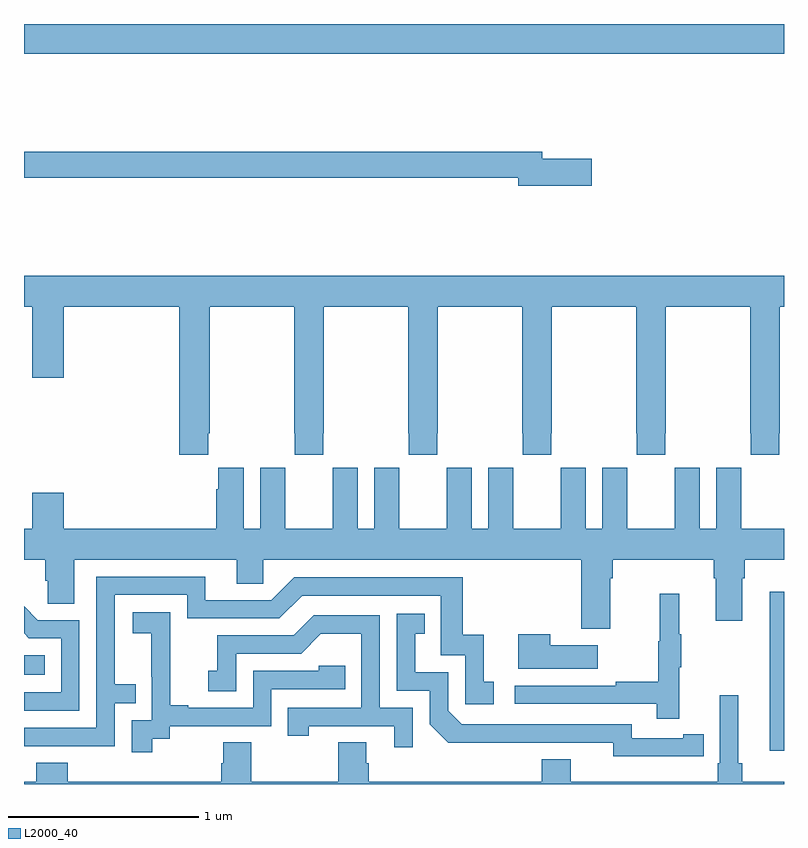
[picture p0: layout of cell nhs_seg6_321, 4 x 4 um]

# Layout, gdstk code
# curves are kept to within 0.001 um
import gdstk
lib = gdstk.Library(unit=1e-6, precision=1e-09)
def R(c, l, rs):  # rectangles x0, y0, x1, y1
    for r in rs: c.add(gdstk.rectangle(r[:2], r[2:], *l))
def P(c, l, *ps):  # polygons
    for p in ps: c.add(gdstk.Polygon(p, *l))
L2000_40 = (2000, 40)

nhs_seg6_321 = lib.new_cell('nhs_seg6_321')
R(nhs_seg6_321, L2000_40, [(132.926,935.676,133,936.511), (129,936.074,129.11,936.178), (129,939.344,133,939.5)])
P(nhs_seg6_321, L2000_40, [(131.989,938.792),(131.728,938.792),(131.728,938.828),(129,938.828),(129,938.692),(131.6,938.692),(131.6,938.65),(131.989,938.65)],
  [(129,938.012),(129.044,938.012),(129.044,937.638),(129.208,937.638),(129.208,938.012),(129.818,938.012),(129.818,937.233),(129.971,937.233),(129.971,937.345),(129.977,937.345),(129.977,938.012),(130.423,938.012),(130.423,937.345),(130.425,937.345),(130.425,937.233),(130.575,937.233),(130.575,937.345),(130.578,937.345),(130.578,938.012),(131.023,938.012),(131.023,937.345),(131.025,937.345),(131.025,937.233),(131.175,937.233),(131.175,937.345),(131.178,937.345),(131.178,938.012),(131.623,938.012),(131.623,937.345),(131.625,937.345),(131.625,937.233),(131.775,937.233),(131.775,937.345),(131.778,937.345),(131.778,938.012),(132.223,938.012),(132.223,937.345),(132.225,937.345),(132.225,937.233),(132.375,937.233),(132.375,937.345),(132.378,937.345),(132.378,938.012),(132.823,938.012),(132.823,937.345),(132.825,937.345),(132.825,937.233),(132.975,937.233),(132.975,937.345),(132.978,937.345),(132.978,938.012),(133,938.012),(133,938.176),(129,938.176)],
  [(132.085,936.584),(132.098,936.584),(132.098,936.68),(132.629,936.68),(132.629,936.584),(132.641,936.584),(132.641,936.36),(132.781,936.36),(132.781,936.584),(132.794,936.584),(132.794,936.68),(133,936.68),(133,936.844),(132.775,936.844),(132.775,937.052),(132.774,937.052),(132.774,937.165),(132.644,937.165),(132.644,936.844),(132.556,936.844),(132.556,937.165),(132.426,937.165),(132.426,937.052),(132.425,937.052),(132.425,936.844),(132.175,936.844),(132.175,937.052),(132.174,937.052),(132.174,937.165),(132.044,937.165),(132.044,936.844),(131.956,936.844),(131.956,937.165),(131.826,937.165),(131.826,937.052),(131.825,937.052),(131.825,936.844),(131.575,936.844),(131.575,937.052),(131.574,937.052),(131.574,937.165),(131.444,937.165),(131.444,936.844),(131.356,936.844),(131.356,937.165),(131.226,937.165),(131.226,937.052),(131.225,937.052),(131.225,936.844),(130.975,936.844),(130.975,937.052),(130.974,937.052),(130.974,937.165),(130.844,937.165),(130.844,936.844),(130.756,936.844),(130.756,937.165),(130.626,937.165),(130.626,937.052),(130.625,937.052),(130.625,936.844),(130.375,936.844),(130.375,937.052),(130.374,937.052),(130.374,937.165),(130.244,937.165),(130.244,936.844),(130.156,936.844),(130.156,937.165),(130.022,937.165),(130.022,937.052),(130.013,937.052),(130.013,936.844),(129.208,936.844),(129.208,937.033),(129.044,937.033),(129.044,936.844),(129,936.844),(129,936.68),(129.113,936.68),(129.113,936.571),(129.126,936.571),(129.126,936.448),(129.265,936.448),(129.265,936.68),(130.121,936.68),(130.121,936.553),(130.26,936.553),(130.26,936.68),(131.933,936.68),(131.933,936.318),(132.085,936.318)],
  [(129.477,935.925),(129.587,935.925),(129.587,936.026),(129.477,936.026),(129.477,936.495),(129.858,936.495),(129.858,936.372),(130.344,936.372),(130.464,936.492),(131.193,936.492),(131.193,936.177),(131.322,936.177),(131.322,935.919),(131.473,935.919),(131.473,936.039),(131.42,936.039),(131.42,936.286),(131.309,936.286),(131.309,936.588),(130.422,936.588),(130.302,936.468),(129.955,936.468),(129.955,936.591),(129.381,936.591),(129.381,935.796),(129,935.796),(129,935.7),(129.477,935.7)],
  [(132.449,936.115),(132.46,936.115),(132.46,936.289),(132.449,936.289),(132.449,936.502),(132.346,936.502),(132.346,936.252),(132.339,936.252),(132.339,936.038),(132.115,936.038),(132.115,936.018),(131.583,936.018),(131.583,935.922),(132.331,935.922),(132.331,935.844),(132.449,935.844)],
  [(129.291,936.363),(129.072,936.363),(129,936.435),(129,936.293),(129.026,936.267),(129.195,936.267),(129.195,935.982),(129,935.982),(129,935.886),(129.291,935.886)],
  [(129.676,935.737),(129.768,935.737),(129.768,935.805),(130.302,935.805),(130.302,936),(130.691,936),(130.691,936.123),(130.551,936.123),(130.551,936.096),(130.206,936.096),(130.206,935.901),(129.865,935.901),(129.865,935.914),(129.77,935.914),(129.77,936.197),(129.771,936.197),(129.771,936.403),(129.573,936.403),(129.573,936.293),(129.671,936.293),(129.671,936.065),(129.672,936.065),(129.672,935.835),(129.567,935.835),(129.567,935.667),(129.676,935.667)],
  [(132.47,935.646),(132.578,935.646),(132.578,935.762),(132.47,935.762),(132.47,935.742),(132.198,935.742),(132.198,935.814),(131.304,935.814),(131.232,935.886),(131.232,936.087),(131.059,936.087),(131.059,936.291),(131.108,936.291),(131.108,936.397),(130.962,936.397),(130.962,935.991),(131.136,935.991),(131.136,935.814),(131.234,935.717),(132.102,935.718),(132.102,935.645)],
  [(131.046,935.901),(130.872,935.901),(130.872,936.387),(130.526,936.387),(130.421,936.282),(130.018,936.282),(130.018,936.097),(129.969,936.097),(129.969,935.988),(130.116,935.988),(130.116,936.186),(130.458,936.186),(130.562,936.29),(130.776,936.29),(130.776,935.901),(130.387,935.901),(130.387,935.754),(130.498,935.754),(130.498,935.805),(130.949,935.805),(130.949,935.694),(131.046,935.694)],
  [(132.019,936.229),(131.771,936.229),(131.771,936.289),(131.6,936.289),(131.6,936.107),(132.019,936.107)],
  [(129.065,935.611),(129.065,935.512),(129,935.512),(129,935.5),(133,935.5),(133,935.512),(132.779,935.512),(132.779,935.608),(132.76,935.608),(132.76,935.968),(132.663,935.968),(132.663,935.608),(132.65,935.608),(132.65,935.512),(131.878,935.512),(131.878,935.629),(131.726,935.629),(131.726,935.512),(130.814,935.512),(130.814,935.61),(130.801,935.61),(130.801,935.72),(130.654,935.72),(130.654,935.512),(130.197,935.512),(130.197,935.72),(130.049,935.72),(130.049,935.61),(130.037,935.61),(130.037,935.512),(129.23,935.512),(129.23,935.611)])

lib.write_gds('nhs_seg6_321.gds')
